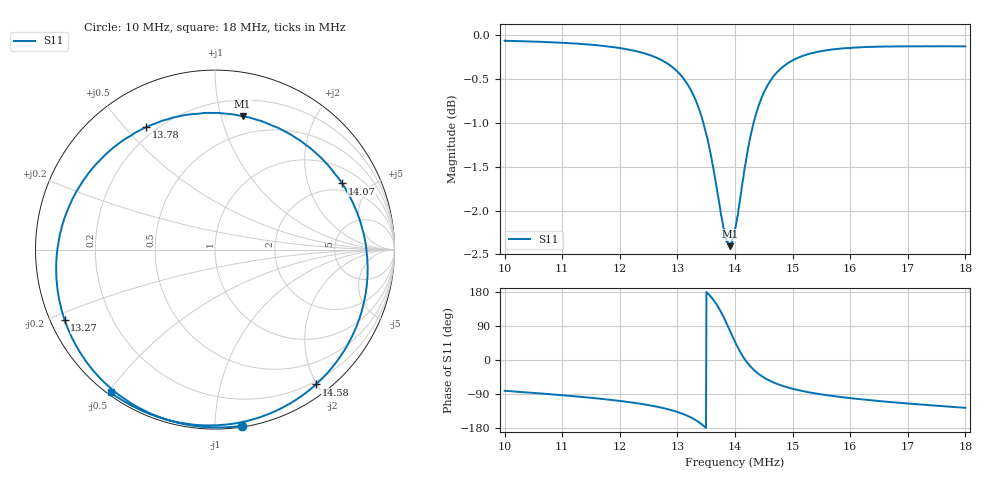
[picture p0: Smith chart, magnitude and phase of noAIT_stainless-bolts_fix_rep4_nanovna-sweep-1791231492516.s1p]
! NanoVNA Web complex sweep
! Processing: unaveraged complex samples; linear segment spacing; no smoothing
# Hz S RI R 50
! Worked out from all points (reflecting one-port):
!   1010 points, 10 MHz to 18 MHz, reference 50 ohm
!   lowest |S11| = -2.4 dB at 13.91 MHz (marker M1), VSWR 7.26, Z = 16.8 + j58.6 ohm
!   phase of S11 starts at -81 deg and turns -405 deg over the sweep
!   S11 on the Smith chart (normalised r, x): 10 MHz: 0.01, -1.17; 13.27 MHz: 0.04, -0.22; 13.78 MHz: 0.16, +0.57; 14.07 MHz: 1.64, +3.33; 14.58 MHz: 0.16, -1.99; 18 MHz: 0.01, -0.51
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1e7  0.1509 -0.9816
1.100698e7  -0.0511 -0.9891
1.200604e7  -0.3046 -0.9351
1.260071e7  -0.5134 -0.8257
1.300509e7  -0.7017 -0.6452
1.314781e7  -0.7759 -0.5323
1.327468e7  -0.8377 -0.3927
1.342533e7  -0.8839 -0.1562
1.357598e7  -0.8375 0.1786
1.367906e7  -0.6858 0.4486
1.378213e7  -0.385 0.6819
1.384556e7  -0.1273 0.7544
1.3909e7  0.1537 0.7423
1.395657e7  0.3565 0.6762
1.400414e7  0.5329 0.564
1.406758e7  0.7074 0.3688
1.412308e7  0.8003 0.1821
1.417858e7  0.8435 0.000692
1.424202e7  0.8463 -0.1858
1.43213e7  0.8061 -0.38
1.444024e7  0.7017 -0.5908
1.458296e7  0.5628 -0.7511
1.476533e7  0.4025 -0.8664
1.50032e7  0.2339 -0.9393
1.543929e7  0.0122 -0.9787
1.600225e7  -0.181 -0.9665
1.700131e7  -0.4143 -0.8945
1.800036e7  -0.5822 -0.7955
